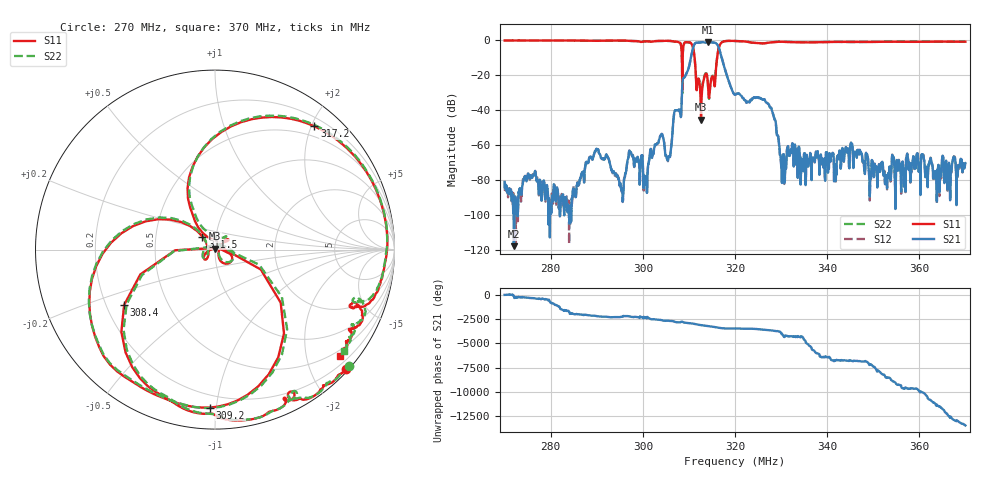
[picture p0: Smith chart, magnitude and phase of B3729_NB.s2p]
! Matrix data file written by TouchstoneData, EPCOS AG
! FILENAME: "B3729_NB.s2p"
! COMMENT: "PCB:D6E PINN:1/4 PORTEXT1:94.5ps PORTEXT2:18"
! INFO: nport=2, nfreq=1601
! DATE: "Mon Sep 28 17:40:24 2009"
! USER: "Sergey Rostovtsev"
! port | pin | signal
!  1  |  1  |  in
!  2  |  4  |  out
# MHZ S MA R 50
! freq  magS11 angS11  magS21 angS21  magS12 angS12  magS22 angS22
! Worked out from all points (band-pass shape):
!   1601 points, 270 MHz to 370 MHz, reference 50 ohm
!   highest |S21| = -1.01 dB at 314.1 MHz (marker M1); lowest = -117.9 dB at 272 MHz (marker M2)
!   |S21| within 3 dB of the highest: 311 MHz to 316.4 MHz (5.494 MHz wide, 1.75 % of centre)
!   lowest |S11| = -45.4 dB at 312.6 MHz (marker M3), VSWR 1.01, Z = 49.9 + j0.522 ohm
!   |S11| at or under -10 dB: 308.4676 MHz to 308.6401 MHz (172.5 kHz wide, 0.0559 % of centre); 311.2 MHz to 316.1 MHz (4.886 MHz wide, 1.56 % of centre)
!   |S22| runs from -33.6 to -0.1 dB; largest |S21 - S12| = 0.003
!   S11 on the Smith chart (normalised r, x): 270 MHz: 0.05, -2.58; 308.4 MHz: 0.27, -0.26; 309.2 MHz: 0.12, -0.96; 311.5 MHz: 0.86, +0.13; 317.2 MHz: 0.33, +2.05; 370 MHz: 0.38, -2.67
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270  0.9864 -42.3  8.798e-05 -25.4  8.788e-05 -29.7  0.9867 -40.9
272  0.9883 -43.1  1.267e-06 -149.9  1.083e-05 -140.8  0.9892 -41.7
286.6875  0.9802 -49.9  0.0001453 108.5  0.0001415 114.3  0.9813 -48.5
290  0.9669 -51.5  0.0007703 -49.5  0.0007783 -49.3  0.9687 -50.1
300.5625  0.9365 -62.7  7.315e-05 -168.6  7.372e-05 -175.9  0.9377 -61.4
303.375  0.957 -68.9  0.001178 -50.4  0.001171 -49.8  0.9552 -67.8
305.625  0.9639 -80.6  0.0004608 -166.9  0.0004621 -166.9  0.9632 -79.9
308.375  0.5931 -148.6  0.01212 108.0  0.01194 107.6  0.5784 -148.3
309.25  0.8807 -91.8  0.09794 -6.8  0.09786 -7.0  0.8828 -91.5
310.5  0.8071 -148.0  0.3549 -64.0  0.3536 -64.1  0.8033 -148.7
311.5  0.1011 133.9  0.8472 -166.8  0.8466 -166.7  0.1029 131.7
312.625  0.005343 101.9  0.8778 105.0  0.8769 105.1  0.02816 105.0
314.125  0.05447 -64.9  0.8906 9.8  0.8902 9.9  0.05561 -57.7
315.5  0.05646 46.9  0.8606 -80.6  0.8598 -80.5  0.07463 62.4
317.1875  0.8824 51.1  0.2883 149.8  0.2887 149.8  0.8827 52.8
320  0.9543 -2.6  0.02776 123.6  0.02782 123.4  0.9554 -0.4
327.4375  0.8614 -21.4  0.01344 -48.0  0.01349 -48.1  0.86 -19.1
330.5625  0.9023 -28.0  0.0005448 38.6  0.000537 39.3  0.9043 -25.8
336.6875  0.8721 -30.9  0.0003394 138.0  0.0003265 138.9  0.8738 -28.7
345.4375  0.8928 -34.9  0.001076 17.4  0.001077 17.4  0.892 -32.6
353.375  0.911 -36.6  0.0001345 101.7  0.0001363 108.2  0.9109 -34.6
370  0.9116 -40.4  0.0003013 -120.9  0.0003041 -120.8  0.9114 -38.2
